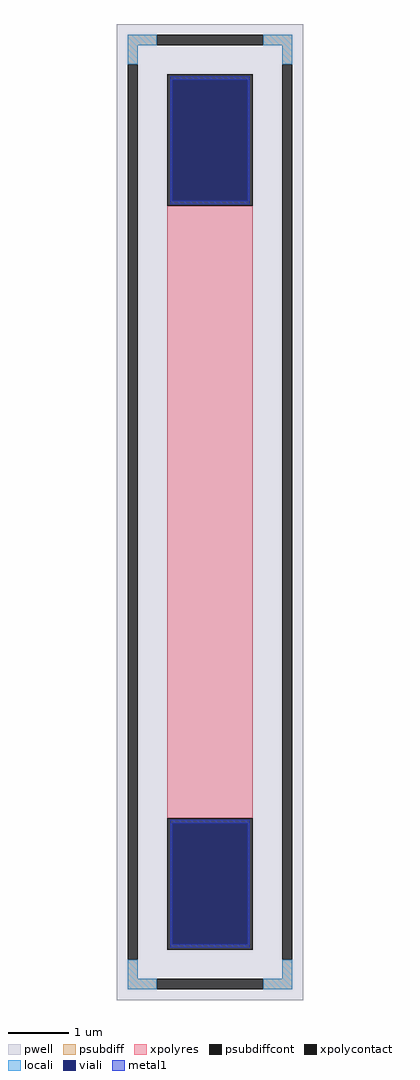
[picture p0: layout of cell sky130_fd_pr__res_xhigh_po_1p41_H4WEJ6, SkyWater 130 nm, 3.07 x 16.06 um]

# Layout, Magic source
magic
tech sky130A
magscale 1 2
<< pwell >>
rect -307 -1606 307 1606
<< psubdiff >>
rect -271 1536 -175 1570
rect 175 1536 271 1570
rect -271 1474 -237 1536
rect 237 1474 271 1536
rect -271 -1536 -237 -1474
rect 237 -1536 271 -1474
rect -271 -1570 -175 -1536
rect 175 -1570 271 -1536
<< psubdiffcont >>
rect -175 1536 175 1570
rect -271 -1474 -237 1474
rect 237 -1474 271 1474
rect -175 -1570 175 -1536
<< xpolycontact >>
rect -141 1008 141 1440
rect -141 -1440 141 -1008
<< xpolyres >>
rect -141 -1008 141 1008
<< locali >>
rect -271 1536 -175 1570
rect 175 1536 271 1570
rect -271 1474 -237 1536
rect 237 1474 271 1536
rect -271 -1536 -237 -1474
rect 237 -1536 271 -1474
rect -271 -1570 -175 -1536
rect 175 -1570 271 -1536
<< viali >>
rect -125 1025 125 1422
rect -125 -1422 125 -1025
<< metal1 >>
rect -131 1422 131 1434
rect -131 1025 -125 1422
rect 125 1025 131 1422
rect -131 1013 131 1025
rect -131 -1025 131 -1013
rect -131 -1422 -125 -1025
rect 125 -1422 131 -1025
rect -131 -1434 131 -1422
<< properties >>
string FIXED_BBOX -254 -1553 254 1553
string gencell sky130_fd_pr__res_xhigh_po_1p41
string library sky130
string parameters w 1.410 l 10.241 m 1 nx 1 wmin 1.410 lmin 0.50 rho 2000 val 14.793k dummy 0 dw 0.0 term 188.2 sterm 0.0 caplen 0 wmax 1.410 guard 1 glc 1 grc 1 gtc 1 gbc 1 compatible {sky130_fd_pr__res_xhigh_po_0p35  sky130_fd_pr__res_xhigh_po_0p69 sky130_fd_pr__res_xhigh_po_1p41  sky130_fd_pr__res_xhigh_po_2p85 sky130_fd_pr__res_xhigh_po_5p73} snake 0 full_metal 1 n_guard 0 hv_guard 0 vias 1 viagb 0 viagt 0 viagl 0 viagr 0
<< end >>
